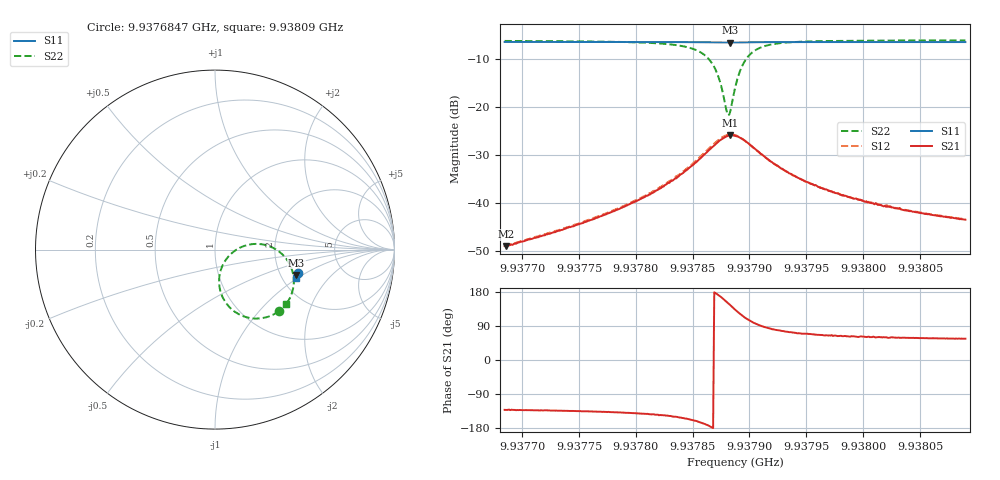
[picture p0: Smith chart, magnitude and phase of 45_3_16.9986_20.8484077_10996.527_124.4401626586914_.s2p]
#  HZ  S  RI  R  50.00
! Rohde & Schwarz Vector Network Analyzer
! Rohde-Schwarz,ZNB20-2Port,1311601062101988,3.16
! Created: UTC 3/20/2024, 10:54:04 PM
! freq[Hz]  re:S11  im:S11  re:S21  im:S21  re:S12  im:S12  re:S22  im:S22
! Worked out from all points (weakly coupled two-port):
!   401 points, 9.9376847 GHz to 9.93809 GHz, reference 50 ohm
!   highest |S21| = -25.85 dB at 9.9378833 GHz (marker M1); lowest = -49.0 dB at 9.9376857 GHz (marker M2)
!   lowest |S11| = -6.5 dB at 9.9378833 GHz (marker M3), VSWR 2.81, Z = 121 - j44.3 ohm
!   |S11| at or under -10 dB: nowhere
!   |S22| runs from -21.6 to -6.0 dB; largest |S21 - S12| = 0.0035
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9.93768466e9  0.4634 -0.1313  -0.00237 -0.00267  -0.00243 -0.00265  0.3548 -0.3433
9.93768568e9  0.4633 -0.1314  -0.00236 -0.00265  -0.00244 -0.00269  0.3544 -0.3436
9.93775255e9  0.4616 -0.1362  -0.00438 -0.00432  -0.00455 -0.00436  0.3325 -0.3576
9.93778801e9  0.4605 -0.1387  -0.00672 -0.00591  -0.00699 -0.00594  0.3093 -0.369
9.93782044e9  0.4591 -0.1412  -0.0116 -0.00785  -0.0119 -0.00803  0.2662 -0.3812
9.93784678e9  0.4575 -0.1431  -0.0212 -0.00928  -0.0221 -0.00912  0.1828 -0.3788
9.93786198e9  0.4556 -0.144  -0.033 -0.00545  -0.0347 -0.00464  0.0887 -0.3285
9.93786806e9  0.4546 -0.1439  -0.0391 -0.000204  -0.0408 0.00137  0.0461 -0.2725
9.93787211e9  0.454 -0.1437  -0.0429 0.00556  -0.0443 0.00792  0.0267 -0.2171
9.93788022e9  0.4533 -0.1422  -0.0443 0.0226  -0.0441 0.0261  0.0501 -0.0731
9.93788123e9  0.4533 -0.142  -0.0436 0.0252  -0.0431 0.0286  0.0608 -0.0563
9.93788326e9  0.4533 -0.1414  -0.0415 0.0296  -0.0403 0.0329  0.088 -0.0249
9.93788731e9  0.4538 -0.1408  -0.0344 0.0368  -0.0326 0.0396  0.1576 0.0185
9.93789035e9  0.4545 -0.1404  -0.0283 0.0401  -0.0259 0.0422  0.2126 0.0311
9.9378944e9  0.4554 -0.1402  -0.0199 0.0416  -0.0174 0.0429  0.2813 0.0255
9.93789947e9  0.4563 -0.1406  -0.0111 0.0403  -0.00893 0.0405  0.3461 -0.00291
9.93790555e9  0.4571 -0.1412  -0.00363 0.0361  -0.00209 0.0361  0.3942 -0.0473
9.93792682e9  0.4578 -0.1439  0.00492 0.0231  0.00555 0.0228  0.4388 -0.1634
9.9379552e9  0.4574 -0.1469  0.00592 0.0147  0.00623 0.0144  0.4316 -0.2313
9.93799066e9  0.4566 -0.1495  0.00515 0.00997  0.0055 0.00989  0.418 -0.2679
9.93802308e9  0.4557 -0.152  0.00472 0.00783  0.00483 0.00791  0.4086 -0.2853
9.93808995e9  0.454 -0.1565  0.00373 0.00558  0.00391 0.00559  0.3951 -0.3051
